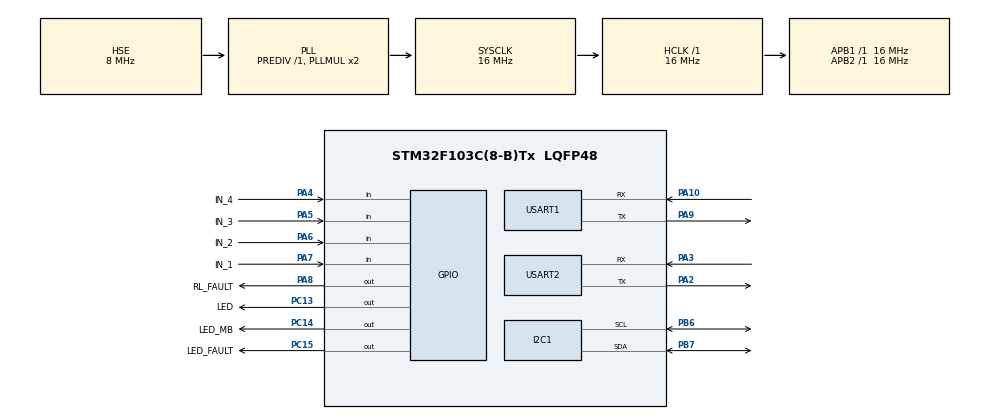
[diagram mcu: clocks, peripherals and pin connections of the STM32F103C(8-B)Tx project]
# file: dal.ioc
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FREERTOS.Tasks01=defaultTask,24,128,StartDefaultTask,Default,NULL,Dynamic,NULL,NULL;modbusTask,24,128,StartModbusTask,Default,NULL,Dynamic,NULL,NULL;sensorTask,24,128,StartSensorTask,Default,NULL,Dynamic,NULL,NULL;nfcTask,24,128,StartNfcTask,Default,NULL,Dynamic,NULL,NULL
FREERTOS.configTOTAL_HEAP_SIZE=10240
Mcu.Family=STM32F1
Mcu.Name=STM32F103C(8-B)Tx
Mcu.Package=LQFP48
NVIC.PriorityGroup=NVIC_PRIORITYGROUP_4
NVIC.USART1_IRQn=true\:5\:0\:false\:false\:true\:true\:true\:true\:true
NVIC.USART2_IRQn=true\:5\:0\:false\:false\:true\:true\:true\:true\:true
PA10.Mode=Asynchronous
PA10.Signal=USART1_RX
PA13.Mode=Serial_Wire
PA13.Signal=SYS_JTMS-SWDIO
PA14.Mode=Serial_Wire
PA14.Signal=SYS_JTCK-SWCLK
PA2.Mode=Asynchronous
PA2.Signal=USART2_TX
PA3.Mode=Asynchronous
PA3.Signal=USART2_RX
PA4.GPIO_Label=IN_4
PA4.GPIO_PuPd=GPIO_PULLDOWN
PA4.Signal=GPIO_Input
PA5.GPIO_Label=IN_3
PA5.GPIO_PuPd=GPIO_PULLDOWN
PA5.Signal=GPIO_Input
PA6.GPIO_Label=IN_2
PA6.GPIO_PuPd=GPIO_PULLDOWN
PA6.Signal=GPIO_Input
PA7.GPIO_Label=IN_1
PA7.GPIO_PuPd=GPIO_PULLDOWN
PA7.Signal=GPIO_Input
PA8.GPIO_Label=RL_FAULT
PA8.Signal=GPIO_Output
PA9.Mode=Asynchronous
PA9.Signal=USART1_TX
PB6.Mode=I2C
PB6.Signal=I2C1_SCL
PB7.Mode=I2C
PB7.Signal=I2C1_SDA
PC13-TAMPER-RTC.GPIO_Label=LED
PC13-TAMPER-RTC.GPIO_PuPd=GPIO_NOPULL
PC13-TAMPER-RTC.Signal=GPIO_Output
PC14-OSC32_IN.GPIO_Label=LED_MB
PC14-OSC32_IN.Signal=GPIO_Output
PC15-OSC32_OUT.GPIO_Label=LED_FAULT
PC15-OSC32_OUT.Signal=GPIO_Output
PD0-OSC_IN.Mode=HSE-External-Oscillator
PD0-OSC_IN.Signal=RCC_OSC_IN
PD1-OSC_OUT.Mode=HSE-External-Oscillator
PD1-OSC_OUT.Signal=RCC_OSC_OUT
ProjectManager.HeapSize=0x200
ProjectManager.StackSize=0x400
ProjectManager.TargetToolchain=STM32CubeIDE
RCC.AHBFreq_Value=16000000
RCC.APB1Freq_Value=16000000
RCC.APB1TimFreq_Value=16000000
RCC.APB2Freq_Value=16000000
RCC.APB2TimFreq_Value=16000000
RCC.HCLKFreq_Value=16000000
RCC.PLLSourceVirtual=RCC_PLLSOURCE_HSE
RCC.SYSCLKFreq_VALUE=16000000
RCC.SYSCLKSource=RCC_SYSCLKSOURCE_PLLCLK
RCC.USBFreq_Value=16000000
USART1.VirtualMode=VM_ASYNC
USART2.VirtualMode=VM_ASYNC
VP_FREERTOS_VS_CMSIS_V2.Mode=CMSIS_V2
VP_TIM2_VS_ClockSourceINT.Mode=Internal
board=custom

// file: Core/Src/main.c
/* USER CODE BEGIN Header */
/**
  ******************************************************************************
  * @file           : main.c
  * @brief          : Main program body
  ******************************************************************************
  * @attention
  *
  * Copyright (c) 2025 STMicroelectronics.
  * All rights reserved.
  *
  * This software is licensed under terms that can be found in the LICENSE file
  * in the root directory of this software component.
  * If no LICENSE file comes with this software, it is provided AS-IS.
  *
  ******************************************************************************
  */
/* USER CODE END Header */
#include "main.h"
#include "cmsis_os.h"

/* USER CODE BEGIN Includes */
#include <stdarg.h>
#include <string.h>
#include <math.h>
/* USER CODE END Includes */

I2C_HandleTypeDef hi2c1;

TIM_HandleTypeDef htim2;

UART_HandleTypeDef huart1;
UART_HandleTypeDef huart2;

/* Definitions for defaultTask */
osThreadId_t defaultTaskHandle;
const osThreadAttr_t defaultTask_attributes = {
  .name = "defaultTask",
  .stack_size = 128 * 4,
  .priority = (osPriority_t) osPriorityNormal,
};
/* Definitions for modbusTask */
osThreadId_t modbusTaskHandle;
const osThreadAttr_t modbusTask_attributes = {
  .name = "modbusTask",
  .stack_size = 128 * 4,
  .priority = (osPriority_t) osPriorityNormal,
};
/* Definitions for sensorTask */
//osThreadId_t sensorTaskHandle;
//const osThreadAttr_t sensorTask_attributes = {
//  .name = "sensorTask",
//  .stack_size = 128 * 4,
//  .priority = (osPriority_t) osPriorityNormal,
//};
/* Definitions for nfcTask */
osThreadId_t nfcTaskHandle;
const osThreadAttr_t nfcTask_attributes = {
  .name = "nfcTask",
  .stack_size = 128 * 4,
  .priority = (osPriority_t) osPriorityNormal,
};
/* Definitions for dockTask */
osThreadId_t dockTaskHandle;
const osThreadAttr_t dockTask_attributes = {
  .name = "dockTask",
  .stack_size = 128 * 4,
  .priority = (osPriority_t) osPriorityNormal,
};
/* USER CODE BEGIN PV */
// Module handles
PN532_Config pn532_config;
//BNO055_Handle_t hbno055;
Modbus_Handle_t hmodbus;

// Data buffers
//uint16_t sensor_data[32];

// NFC/RFID data
uint8_t nfc_card_uid[7];
uint8_t nfc_card_uid_length = 0;
uint8_t nfc_card_type = 0;
bool nfc_card_present = false;
uint32_t nfc_last_card_uid = 0; // For detecting card changes

//docking station status
uint8_t _g_dock_status = 0;

// Status variables
volatile uint8_t system_status = 0;
volatile uint8_t system_error = 0;
bool sensors_initialized = false;

// IMU velocity and heading data
//float current_velocity = 0.0f;  // m/s
//float current_heading = 0.0f;   // degrees

// Debug buffer
char debug_buffer[128];

// IMU fail counter for error handling
//uint32_t imu_fail_counter = 0;

//BNO055_Vector_t *_g_lin_accel;
//BNO055_Vector_t *_g_gyro_data;
// RTOS synchronization objects
osMutexId_t dataMutexHandle;
const osMutexAttr_t dataMutex_attributes = {
  .name = "dataMutex"
};

osSemaphoreId_t sensorReadySemHandle;
const osSemaphoreAttr_t sensorReadySem_attributes = {
  .name = "sensorReadySem"
};

osEventFlagsId_t systemEventsHandle;
const osEventFlagsAttr_t systemEvents_attributes = {
  .name = "systemEvents"
};

// Event flags
#define EVENT_SENSOR_DATA_READY    (1UL << 0)
#define EVENT_NFC_DATA_READY       (1UL << 1)
#define EVENT_SYSTEM_ERROR         (1UL << 3)
/* USER CODE END PV */

void SystemClock_Config(void);
static void MX_GPIO_Init(void);
static void MX_I2C1_Init(void);
static void MX_USART1_UART_Init(void);
static void MX_USART2_UART_Init(void);
static void MX_TIM2_Init(void);
void StartDefaultTask(void *argument);
void StartModbusTask(void *argument);
//void StartSensorTask(void *argument);
void StartNfcTask(void *argument);
void StartDockTask(void *argument);

/* USER CODE BEGIN PFP */
void SystemInit_Modules(void);
void DebugPrint(const char* format, ...);
void I2C_Scanner(void);
void DebugDumpHex(const char* label, uint8_t* data, uint8_t len);
void Modbus_OnRegisterRead(uint16_t addr, uint16_t *value);
void Modbus_OnRegisterWrite(uint16_t addr, uint16_t value);
/* USER CODE END PFP */

int main(void)
{

  /* MCU Configuration--------------------------------------------------------*/

  /* Reset of all peripherals, Initializes the Flash interface and the Systick. */
  HAL_Init();

  /* Configure the system clock */
  SystemClock_Config();

  /* Initialize all configured peripherals */
  MX_GPIO_Init();
  MX_I2C1_Init();
  MX_USART1_UART_Init();
  MX_USART2_UART_Init();
  MX_TIM2_Init();
  /* USER CODE BEGIN 2 */

  // Initialize modules
  HAL_Delay(1000);
  SystemInit_Modules();

  // Initialize Modbus RTU Slave với TIM2 cho frame timeout
  if (Modbus_Init(&hmodbus, &huart2, &htim2, MODBUS_SLAVE_DEFAULT_ADDRESS) == HAL_OK) {
    DebugPrint("Modbus RTU initialized on UART2 with TIM2\r\n");
    DebugPrint("  Slave Address: %d\r\n", MODBUS_SLAVE_DEFAULT_ADDRESS);
    DebugPrint("  Baudrate: 115200\r\n");
    DebugPrint("  Frame timeout: 5ms (T3.5)\r\n");

    // Register callbacks
    Modbus_RegisterReadCallback(&hmodbus, Modbus_OnRegisterRead);
    Modbus_RegisterWriteCallback(&hmodbus, Modbus_OnRegisterWrite);

    // Initialize system registers with default values
    Modbus_WriteRegister(&hmodbus, REG_DEVICE_ID, MODBUS_SLAVE_DEFAULT_ADDRESS);
    Modbus_WriteRegister(&hmodbus, REG_MODULE_TYPE, 0x0004);
    Modbus_WriteRegister(&hmodbus, REG_FIRMWARE_VERSION, 0x0101);
    Modbus_WriteRegister(&hmodbus, REG_HARDWARE_VERSION, 0x0101);
    Modbus_WriteRegister(&hmodbus, REG_CONFIG_BAUDRATE, 5); // 115200
    Modbus_WriteRegister(&hmodbus, REG_CONFIG_PARITY, 0);   // None
    Modbus_WriteRegister(&hmodbus, REG_CONFIG_STOP_BITS, 1); // 1 stop bit
  } else {
    DebugPrint("Modbus initialization failed!\r\n");
  }
  /* USER CODE END 2 */

  /* Init scheduler */
  osKernelInitialize();

  /* USER CODE BEGIN RTOS_MUTEX */
  /* Create the mutex(es) */
  dataMutexHandle = osMutexNew(&dataMutex_attributes);
  /* USER CODE END RTOS_MUTEX */

  /* USER CODE BEGIN RTOS_SEMAPHORES */
  /* Create the semaphore(s) */
  sensorReadySemHandle = osSemaphoreNew(1, 0, &sensorReadySem_attributes);
  /* USER CODE END RTOS_SEMAPHORES */

  /* Create the thread(s) */
  /* creation of defaultTask */
  defaultTaskHandle = osThreadNew(StartDefaultTask, NULL, &defaultTask_attributes);

  /* creation of modbusTask */
  modbusTaskHandle = osThreadNew(StartModbusTask, NULL, &modbusTask_attributes);

  /* creation of sensorTask */
//  sensorTaskHandle = osThreadNew(StartSensorTask, NULL, &sensorTask_attributes);

  /* creation of nfcTask */
  nfcTaskHandle = osThreadNew(StartNfcTask, NULL, &nfcTask_attributes);

  /* creation of dockTask */
  dockTaskHandle = osThreadNew(StartDockTask, NULL, &dockTask_attributes);

  /* USER CODE BEGIN RTOS_EVENTS */
  /* Create the event flags */
  systemEventsHandle = osEventFlagsNew(&systemEvents_attributes);
  /* USER CODE END RTOS_EVENTS */

  /* Start scheduler */
  osKernelStart();

  /* We should never get here as control is now taken by the scheduler */

  /* Infinite loop */
  while (1)
  {

    /* USER CODE BEGIN 3 */
    // This code should not be reached when using RTOS
    // All functionality is now handled by RTOS tasks
  }
  /* USER CODE END 3 */
}

void SystemClock_Config(void)
{
  RCC_OscInitTypeDef RCC_OscInitStruct = {0};
  RCC_ClkInitTypeDef RCC_ClkInitStruct = {0};

  /** Initializes the RCC Oscillators according to the specified parameters
  * in the RCC_OscInitTypeDef structure.
  */
  RCC_OscInitStruct.OscillatorType = RCC_OSCILLATORTYPE_HSE;
  RCC_OscInitStruct.HSEState = RCC_HSE_ON;
  RCC_OscInitStruct.HSEPredivValue = RCC_HSE_PREDIV_DIV1;
  RCC_OscInitStruct.HSIState = RCC_HSI_ON;
  RCC_OscInitStruct.PLL.PLLState = RCC_PLL_ON;
  RCC_OscInitStruct.PLL.PLLSource = RCC_PLLSOURCE_HSE;
  RCC_OscInitStruct.PLL.PLLMUL = RCC_PLL_MUL2;
  if (HAL_RCC_OscConfig(&RCC_OscInitStruct) != HAL_OK)
  {
    Error_Handler();
  }

  /** Initializes the CPU, AHB and APB buses clocks
  */
  RCC_ClkInitStruct.ClockType = RCC_CLOCKTYPE_HCLK|RCC_CLOCKTYPE_SYSCLK
                              |RCC_CLOCKTYPE_PCLK1|RCC_CLOCKTYPE_PCLK2;
  RCC_ClkInitStruct.SYSCLKSource = RCC_SYSCLKSOURCE_PLLCLK;
  RCC_ClkInitStruct.AHBCLKDivider = RCC_SYSCLK_DIV1;
  RCC_ClkInitStruct.APB1CLKDivider = RCC_HCLK_DIV1;
  RCC_ClkInitStruct.APB2CLKDivider = RCC_HCLK_DIV1;

  if (HAL_RCC_ClockConfig(&RCC_ClkInitStruct, FLASH_LATENCY_0) != HAL_OK)
  {
    Error_Handler();
  }
}

static void MX_I2C1_Init(void)
{

  hi2c1.Instance = I2C1;
  hi2c1.Init.ClockSpeed = 100000;
  hi2c1.Init.DutyCycle = I2C_DUTYCYCLE_2;
  hi2c1.Init.OwnAddress1 = 0;
  hi2c1.Init.AddressingMode = I2C_ADDRESSINGMODE_7BIT;
  hi2c1.Init.DualAddressMode = I2C_DUALADDRESS_DISABLE;
  hi2c1.Init.OwnAddress2 = 0;
  hi2c1.Init.GeneralCallMode = I2C_GENERALCALL_DISABLE;
  hi2c1.Init.NoStretchMode = I2C_NOSTRETCH_DISABLE;
  if (HAL_I2C_Init(&hi2c1) != HAL_OK)
  {
    Error_Handler();
  }

}

static void MX_TIM2_Init(void)
{

  TIM_ClockConfigTypeDef sClockSourceConfig = {0};
  TIM_MasterConfigTypeDef sMasterConfig = {0};

  htim2.Instance = TIM2;
  htim2.Init.Prescaler = 0;
  htim2.Init.CounterMode = TIM_COUNTERMODE_UP;
  htim2.Init.Period = 65535;
  htim2.Init.ClockDivision = TIM_CLOCKDIVISION_DIV1;
  htim2.Init.AutoReloadPreload = TIM_AUTORELOAD_PRELOAD_DISABLE;
  if (HAL_TIM_Base_Init(&htim2) != HAL_OK)
  {
    Error_Handler();
  }
  sClockSourceConfig.ClockSource = TIM_CLOCKSOURCE_INTERNAL;
  if (HAL_TIM_ConfigClockSource(&htim2, &sClockSourceConfig) != HAL_OK)
  {
    Error_Handler();
  }
  sMasterConfig.MasterOutputTrigger = TIM_TRGO_RESET;
  sMasterConfig.MasterSlaveMode = TIM_MASTERSLAVEMODE_DISABLE;
  if (HAL_TIMEx_MasterConfigSynchronization(&htim2, &sMasterConfig) != HAL_OK)
  {
    Error_Handler();
  }

}

static void MX_USART1_UART_Init(void)
{

  huart1.Instance = USART1;
  huart1.Init.BaudRate = 115200;
  huart1.Init.WordLength = UART_WORDLENGTH_8B;
  huart1.Init.StopBits = UART_STOPBITS_1;
  huart1.Init.Parity = UART_PARITY_NONE;
  huart1.Init.Mode = UART_MODE_TX_RX;
  huart1.Init.HwFlowCtl = UART_HWCONTROL_NONE;
  huart1.Init.OverSampling = UART_OVERSAMPLING_16;
  if (HAL_UART_Init(&huart1) != HAL_OK)
  {
    Error_Handler();
  }

}

static void MX_USART2_UART_Init(void)
{

  huart2.Instance = USART2;
  huart2.Init.BaudRate = 115200;
  huart2.Init.WordLength = UART_WORDLENGTH_8B;
  huart2.Init.StopBits = UART_STOPBITS_1;
  huart2.Init.Parity = UART_PARITY_NONE;
  huart2.Init.Mode = UART_MODE_TX_RX;
  huart2.Init.HwFlowCtl = UART_HWCONTROL_NONE;
  huart2.Init.OverSampling = UART_OVERSAMPLING_16;
  if (HAL_UART_Init(&huart2) != HAL_OK)
  {
    Error_Handler();
  }

}

static void MX_GPIO_Init(void)
{
  GPIO_InitTypeDef GPIO_InitStruct = {0};

  /* GPIO Ports Clock Enable */
  __HAL_RCC_GPIOC_CLK_ENABLE();
  __HAL_RCC_GPIOD_CLK_ENABLE();
  __HAL_RCC_GPIOA_CLK_ENABLE();
  __HAL_RCC_GPIOB_CLK_ENABLE();

  /*Configure GPIO pin Output Level */
  HAL_GPIO_WritePin(GPIOC, LED_Pin|LED_MB_Pin|LED_FAULT_Pin, GPIO_PIN_RESET);

  /*Configure GPIO pin Output Level */
  HAL_GPIO_WritePin(RL_FAULT_GPIO_Port, RL_FAULT_Pin, GPIO_PIN_RESET);

  /*Configure GPIO pins : LED_Pin LED_MB_Pin LED_FAULT_Pin */
  GPIO_InitStruct.Pin = LED_Pin|LED_MB_Pin|LED_FAULT_Pin;
  GPIO_InitStruct.Mode = GPIO_MODE_OUTPUT_PP;
  GPIO_InitStruct.Pull = GPIO_NOPULL;
  GPIO_InitStruct.Speed = GPIO_SPEED_FREQ_LOW;
  HAL_GPIO_Init(GPIOC, &GPIO_InitStruct);

  /*Configure GPIO pins : IN_4_Pin IN_3_Pin IN_2_Pin IN_1_Pin */
  GPIO_InitStruct.Pin = IN_4_Pin|IN_3_Pin|IN_2_Pin|IN_1_Pin;
  GPIO_InitStruct.Mode = GPIO_MODE_INPUT;
  GPIO_InitStruct.Pull = GPIO_PULLDOWN;
  HAL_GPIO_Init(GPIOA, &GPIO_InitStruct);

  /*Configure GPIO pin : RL_FAULT_Pin */
  GPIO_InitStruct.Pin = RL_FAULT_Pin;
  GPIO_InitStruct.Mode = GPIO_MODE_OUTPUT_PP;
  GPIO_InitStruct.Pull = GPIO_NOPULL;
  GPIO_InitStruct.Speed = GPIO_SPEED_FREQ_LOW;
  HAL_GPIO_Init(RL_FAULT_GPIO_Port, &GPIO_InitStruct);

}

/* USER CODE BEGIN 4 */

/**
 * @brief Initialize all modules
 */
void SystemInit_Modules(void)
{
    // Clear status and errors at start
    system_status = 0x00;
    system_error = 0x00;

    // Scan I2C bus for devices
    // I2C_Scanner();

//    // Initialize BNO055 IMU with retry mechanism
//    DebugPrint("Initializing BNO055...\r\n");
//
//    BNO055_Status_t bno_status = BNO055_STATUS_ERROR;
//    for (int retry = 0; retry < 3 && bno_status != BNO055_STATUS_OK; retry++) {
//        if (retry > 0) {
//            DebugPrint("BNO055 retry attempt %d/3\r\n", retry + 1);
//            HAL_Delay(500); // Longer delay for retry
//        } else {
//            HAL_Delay(100); // Initial startup delay
//        }
//
//        bno_status = BNO055_Init(&hbno055, &hi2c1);
//    }
//
//    if (bno_status == BNO055_STATUS_OK) {
//        DebugPrint("BNO055 initialized successfully\r\n");
//
//        // Check BNO055 operational status
//        uint8_t imu_status, imu_err;
//        if (BNO055_ReadSystemStatus(&hbno055, &imu_status, &imu_err) == BNO055_STATUS_OK) {
//            DebugPrint("  IMU Status: 0x%02X, IMU Error: 0x%02X\r\n", imu_status, imu_err);
//        }
//
//        // Check operation mode
//        DebugPrint("  Operation Mode: 0x%02X\r\n", hbno055.operation_mode);
//
//        system_status |= 0x01; // IMU OK
//    } else {
//        uint8_t error_code = BNO055_GetErrorCode(&hbno055);
//        DebugPrint("BNO055 initialization failed after 3 attempts with error: 0x%02X\r\n", error_code);
//        if (error_code == 0xFF) {
//            DebugPrint("  -> Communication failed - check I2C connections\r\n");
//        } else if (error_code == 0x00) {
//            DebugPrint("  -> Chip ID is 0x00 - sensor may be in reset or wrong address\r\n");
//        } else {
//            DebugPrint("  -> Wrong chip ID: 0x%02X (expected 0x%02X)\r\n", error_code, BNO055_ID);
//        }
//        system_error |= 0x01; // IMU Error
//        HAL_GPIO_WritePin(LED_FAULT_GPIO_Port, LED_FAULT_Pin, GPIO_PIN_SET);
//    }

    // Initialize PN532 NFC/RFID with retry mechanism
    // DebugPrint("Initializing PN532...\r\n");

    // Configure PN532
    pn532_config.hi2c = &hi2c1;
    pn532_config.i2c_addr = PN532_I2C_ADDRESS << 1; // HAL expects 8-bit address
    pn532_config.reset_port = NULL; // No reset pin configured
    pn532_config.reset_pin = 0;
    pn532_config.log = DebugPrint; // Use our debug print function

    PN532_Status_t pn532_status = PN532_STATUS_ERROR;
    for (int retry = 0; retry < 3 && pn532_status != PN532_STATUS_OK; retry++) {
        if (retry > 0) {
            // DebugPrint("PN532 retry attempt %d/3\r\n", retry + 1);
            HAL_Delay(500); // Longer delay for retry
        } else {
            HAL_Delay(100); // Delay between sensor initializations
        }

        pn532_status = PN532_Init(&pn532_config);
    }

    if (pn532_status == PN532_STATUS_OK) {
        // DebugPrint("PN532 initialized successfully\r\n");
        system_status |= 0x02; // NFC OK
    } else {
        // DebugPrint("PN532 initialization failed\n");
        system_error |= 0x02; // NFC Error
        HAL_GPIO_WritePin(LED_FAULT_GPIO_Port, LED_FAULT_Pin, GPIO_PIN_SET);
        HAL_GPIO_WritePin(RL_FAULT_GPIO_Port, RL_FAULT_Pin, GPIO_PIN_SET);
    }

    sensors_initialized = true;
    // DebugPrint("Module initialization completed\r\n");
    DebugPrint("System Status: 0x%02X, System Error: 0x%02X\r\n", system_status, system_error);
}

/**
 * @brief Debug print function
 */
void DebugPrint(const char* format, ...)
{
    va_list args;
    va_start(args, format);
    vsnprintf(debug_buffer, sizeof(debug_buffer), format, args);
    va_end(args);

    HAL_UART_Transmit(&huart1, (uint8_t*)debug_buffer, strlen(debug_buffer), 100);
}

/**
 * @brief I2C Scanner to detect devices on the bus
 */
void I2C_Scanner(void)
{
    uint8_t devices_found = 0;
    DebugPrint("I2C Scanner starting...\r\n");
    DebugPrint("Expected devices: BNO055 (0x%02X), PN532 (0x%02X)\r\n", BNO055_I2C_ADDR, PN532_I2C_ADDRESS);
    DebugPrint("I2C Clock Speed: %lu Hz\r\n", hi2c1.Init.ClockSpeed);

    // Check I2C peripheral state
    DebugPrint("I2C1 State: %d ", hi2c1.State);
    switch(hi2c1.State) {
        case HAL_I2C_STATE_RESET:   DebugPrint("(RESET)\r\n"); break;
        case HAL_I2C_STATE_READY:   DebugPrint("(READY)\r\n"); break;
        case HAL_I2C_STATE_BUSY:    DebugPrint("(BUSY)\r\n"); break;
        case HAL_I2C_STATE_BUSY_TX: DebugPrint("(BUSY_TX)\r\n"); break;
        case HAL_I2C_STATE_BUSY_RX: DebugPrint("(BUSY_RX)\r\n"); break;
        case HAL_I2C_STATE_LISTEN:  DebugPrint("(LISTEN)\r\n"); break;
        case HAL_I2C_STATE_BUSY_TX_LISTEN: DebugPrint("(BUSY_TX_LISTEN)\r\n"); break;
        case HAL_I2C_STATE_BUSY_RX_LISTEN: DebugPrint("(BUSY_RX_LISTEN)\r\n"); break;
        case HAL_I2C_STATE_ABORT:   DebugPrint("(ABORT)\r\n"); break;
        case HAL_I2C_STATE_TIMEOUT: DebugPrint("(TIMEOUT)\r\n"); break;
        case HAL_I2C_STATE_ERROR:   DebugPrint("(ERROR)\r\n"); break;
        default: DebugPrint("(UNKNOWN)\r\n"); break;
    }

    // Try to reset I2C if it's not in ready state
    if (hi2c1.State != HAL_I2C_STATE_READY) {
        DebugPrint("I2C1 not ready, attempting reset...\r\n");
        HAL_I2C_DeInit(&hi2c1);
        HAL_Delay(10);
        MX_I2C1_Init();
        HAL_Delay(50);
        DebugPrint("I2C1 reset completed, new state: %d\r\n", hi2c1.State);
    }

    for (uint8_t address = 1; address < 128; address++) {
        // Try to communicate with device at this address
        HAL_StatusTypeDef result = HAL_I2C_IsDeviceReady(&hi2c1, address << 1, 1, 100);
        if (result == HAL_OK) {
            DebugPrint("I2C device found at address 0x%02X\r\n", address);
            devices_found++;

            // Check if it's our known devices
            if (address == BNO055_I2C_ADDR) {
                DebugPrint("  -> BNO055 IMU detected\r\n");
            } else if (address == PN532_I2C_ADDRESS) {
                DebugPrint("  -> PN532 NFC/RFID detected\r\n");
            } else {
                DebugPrint("  -> Unknown device\r\n");
            }
        } else if (result != HAL_TIMEOUT) {
            // Log other errors (not timeout which is expected for empty addresses)
            if (address == BNO055_I2C_ADDR || address == PN532_I2C_ADDRESS) {
                DebugPrint("I2C error at expected address 0x%02X: %d\r\n", address, result);
            }
        }
    }
}

void Modbus_OnRegisterRead(uint16_t addr, uint16_t *value)
{
    // Cập nhật các thanh ghi từ dữ liệu thực tế
    switch (addr) {
//        case REG_ACCEL_X:
//            *value = (uint16_t)_g_lin_accel->x;
//            break;
//        case REG_ACCEL_Y:
//            *value = (uint16_t)_g_lin_accel->y;
//            break;
//        case REG_ACCEL_Z:
//            *value = (uint16_t)_g_lin_accel->z;
//            break;
//        case REG_GYRO_X:
//            *value = (uint16_t)_g_gyro_data->x;
//            break;
//        case REG_GYRO_Y:
//            *value = (uint16_t)_g_gyro_data->y;
//            break;
//        case REG_GYRO_Z:
//            *value = (uint16_t)_g_gyro_data->z;
//            break;
//
//        case REG_VELOCITY:
//            int16_t velocity_scaled = (int16_t)(current_velocity * 100.0f);
//            *value = (uint16_t)velocity_scaled;
//            break;
//
//        case REG_HEADING:
//            int16_t heading_scaled = (int16_t)(current_heading * 10.0f);
//            *value = (uint16_t)heading_scaled;
//            break;
//
//        case REG_IMU_STATUS:
//            *value = (system_status & 0x01) ? 1 : 0;
//            break;
//
//        case REG_IMU_ERROR:
//            *value = (system_error & 0x01) ? 1 : 0;
//            break;

        // Digital Input Registers
        case REG_DI_1:
            *value = HAL_GPIO_ReadPin(IN_1_GPIO_Port, IN_1_Pin);
            break;
        case REG_DI_2:
            *value = HAL_GPIO_ReadPin(IN_2_GPIO_Port, IN_2_Pin);
            break;
        case REG_DI_3:
            *value = HAL_GPIO_ReadPin(IN_3_GPIO_Port, IN_3_Pin);
            break;
        case REG_DI_4:
            *value = HAL_GPIO_ReadPin(IN_4_GPIO_Port, IN_4_Pin);
            break;

        case REG_DOCK_STATUS:
            *value = _g_dock_status;
            break;

        // PN532 NFC Registers
        case REG_PN532_DATA_LOW:
        case REG_PN532_DATA_HIGH:
            // Không sử dụng - để trống
            *value = 0;
            break;

        case REG_PN532_STATUS:
            *value = (system_status & 0x02) ? 1 : 0;
            break;

        case REG_PN532_ERROR:
            *value = (system_error & 0x02) ? 1 : 0;
            break;

        case REG_PN532_CARD_TYPE:
            *value = nfc_card_present ? nfc_card_type : 0;
            break;

        case REG_PN532_CARD_UID_HIGH:
            // 2 byte cao của UID (Big-Endian)
            // Byte 0 (MSB) | Byte 1
            if (nfc_card_present && nfc_card_uid_length >= 2) {
                *value = (nfc_card_uid[0] << 8) | nfc_card_uid[1];
            } else {
                *value = 0;
            }
            break;

        case REG_PN532_CARD_UID_LOW:
            // 2 byte thấp của UID (Big-Endian)
            // Byte 2 | Byte 3 (LSB)
            if (nfc_card_present && nfc_card_uid_length >= 4) {
                *value = (nfc_card_uid[2] << 8) | nfc_card_uid[3];
            } else {
                *value = 0;
            }
            break;

        // System Registers
        case REG_DEVICE_ID:
            *value = hmodbus.slave_address;
            break;
        case REG_CONFIG_BAUDRATE:
            switch (hmodbus.baudrate) {
                case MODBUS_BAUD_9600:   *value = 1; break;
                case MODBUS_BAUD_19200:  *value = 2; break;
                case MODBUS_BAUD_38400:  *value = 3; break;
                case MODBUS_BAUD_57600:  *value = 4; break;
                case MODBUS_BAUD_115200: *value = 5; break;
                default:                 *value = 5; break;
            }
            break;
        case REG_CONFIG_PARITY:
            *value = (uint16_t)hmodbus.parity;
            break;
        case REG_CONFIG_STOP_BITS:
            *value = (uint16_t)hmodbus.stopbits;
            break;
        case REG_MODULE_TYPE:
            *value = 0x0004; // DAL Module
            break;
        case REG_FIRMWARE_VERSION:
            *value = 0x0101; // v1.01
            break;
        case REG_HARDWARE_VERSION:
            *value = 0x0101; // v1.01
            break;
        case REG_SYSTEM_STATUS:
            *value = system_status;
            break;
        case REG_SYSTEM_ERROR:
            *value = system_error;
            break;

        default:
            // Giữ nguyên giá trị đã lưu trong thanh ghi
            break;
    }
}

/**
 * @brief Callback được gọi khi Master ghi thanh ghi
 */
void Modbus_OnRegisterWrite(uint16_t addr, uint16_t value)
{
    switch (addr) {
        case REG_DEVICE_ID:
            if (value > 0 && value <= 247) {
                hmodbus.slave_address = (uint8_t)value;
                DebugPrint("Modbus slave address changed to: %d\r\n", value);
            }
            break;

        case REG_CONFIG_BAUDRATE:
            {
                uint32_t new_baudrate;
                switch (value) {
                    case 1: new_baudrate = MODBUS_BAUD_9600; break;
                    case 2: new_baudrate = MODBUS_BAUD_19200; break;
                    case 3: new_baudrate = MODBUS_BAUD_38400; break;
                    case 4: new_baudrate = MODBUS_BAUD_57600; break;
                    case 5: new_baudrate = MODBUS_BAUD_115200; break;
                    default: new_baudrate = MODBUS_BAUD_115200; break;
                }
                if (Modbus_SetConfig(&hmodbus, new_baudrate, hmodbus.parity, hmodbus.stopbits) == HAL_OK) {
                    DebugPrint("Modbus baudrate changed to: %lu\r\n", new_baudrate);
                }
            }
            break;

        case REG_CONFIG_PARITY:
            if (value <= 2) {
                if (Modbus_SetConfig(&hmodbus, hmodbus.baudrate, (Modbus_Parity_t)value, hmodbus.stopbits) == HAL_OK) {
                    DebugPrint("Modbus parity changed to: %d\r\n", value);
                }
            }
            break;

        case REG_CONFIG_STOP_BITS:
            // Thay đổi stop bits
            if (value == 1 || value == 2) {
                if (Modbus_SetConfig(&hmodbus, hmodbus.baudrate, hmodbus.parity, (Modbus_StopBits_t)value) == HAL_OK) {
                    DebugPrint("Modbus stop bits changed to: %d\r\n", value);
                }
            }
            break;

        case REG_RESET_ERROR_CMD:
            // Reset error flags
            if (value == 1) {
                system_error = 0;
                DebugPrint("System errors reset\r\n");
                // Tắt LED_FAULT khi reset error
                HAL_GPIO_WritePin(LED_FAULT_GPIO_Port, LED_FAULT_Pin, GPIO_PIN_RESET);
            }
            break;

        default:
            // Lưu giá trị vào thanh ghi mặc định
            break;
    }
}

/* USER CODE END 4 */

void StartDefaultTask(void *argument)
{
  /* USER CODE BEGIN 5 */
  DebugPrint("------Default Task Started------\r\n");

  // Signal that initialization is complete
  osEventFlagsSet(systemEventsHandle, EVENT_SENSOR_DATA_READY);

  uint32_t recovery_cooldown = 0;

  /* Infinite loop */
  for(;;)
  {
    uint32_t events = osEventFlagsWait(systemEventsHandle,
                                      EVENT_SYSTEM_ERROR,
                                      osFlagsWaitAny,
                                      1000);

    // Kiểm tra nếu có lỗi thực sự (không phải timeout)
    if ((events != osFlagsErrorTimeout) && (events & EVENT_SYSTEM_ERROR)) {
        // Check cooldown
        if (HAL_GetTick() - recovery_cooldown < 10000) { // 10 second cooldown
            osEventFlagsClear(systemEventsHandle, EVENT_SYSTEM_ERROR);
            osDelay(1000);
            continue;
        }

        DebugPrint("System error detected, attempting recovery...\r\n");
        recovery_cooldown = HAL_GetTick();

        // Clear error flag
        osEventFlagsClear(systemEventsHandle, EVENT_SYSTEM_ERROR);

        // Try to reinitialize modules
        if (system_error & 0x01) {
            DebugPrint("Resetting IMU error flag\r\n");
            system_error &= ~0x01;
        }

        if (system_error & 0x02) {
            DebugPrint("Resetting NFC error flag\r\n");
            system_error &= ~0x02;
        }
    }

    if (system_error != 0) {
        HAL_GPIO_WritePin(LED_FAULT_GPIO_Port, LED_FAULT_Pin, GPIO_PIN_SET);
        HAL_GPIO_WritePin(RL_FAULT_GPIO_Port, RL_FAULT_Pin, GPIO_PIN_SET);
    } else {
        HAL_GPIO_WritePin(LED_FAULT_GPIO_Port, LED_FAULT_Pin, GPIO_PIN_RESET);
        HAL_GPIO_WritePin(RL_FAULT_GPIO_Port, RL_FAULT_Pin, GPIO_PIN_RESET);
    }

    HAL_GPIO_TogglePin(LED_GPIO_Port, LED_Pin);
    osDelay(500); // Slower blink
  }
  /* USER CODE END 5 */
}

void StartModbusTask(void *argument)
{
  /* USER CODE BEGIN StartModbusTask */
  DebugPrint("------Modbus Task Started------\r\n");

  /* Infinite loop */
  for(;;)
  {
    // Process Modbus communication
    Modbus_Process(&hmodbus);
    osDelay(1); // 1ms polling rate
  }
  /* USER CODE END StartModbusTask */
}

void StartSensorTask(void *argument)
{
  /* USER CODE BEGIN StartSensorTask */
//  // Wait for system initialization
//  osEventFlagsWait(systemEventsHandle, EVENT_SENSOR_DATA_READY, osFlagsWaitAny, osWaitForever);
//
//  DebugPrint("------Sensor Task Started------\n");
//
//  uint32_t consecutive_failures = 0;
//  const uint32_t MAX_CONSECUTIVE_FAILURES = 5;
//
//  /* Infinite loop */
//  for(;;)
//  {
//    if (sensors_initialized && (system_status & 0x01)) {
//      // BNO055 is available, read real data
//      if (osMutexAcquire(dataMutexHandle, 100) == osOK) {
//        BNO055_Status_t read_status = BNO055_ReadAllSensors(&hbno055);
//
//        if (read_status == BNO055_STATUS_OK) {
//            // static states
//            static float v = 0.0f;                 // vận tốc (m/s)
//            static float last_a_forward = 0.0f;    // a_{k-1}
//            static float a_forward_lp = 0.0f;      // low-pass state (EMA)
//            static uint32_t last_tick = 0;
//            static MAFilter_t accFilter;
//            static uint8_t zh_counter = 0;
//
//            MAFilter_Init(&accFilter);
//
////          BNO055_Vector_t *accel = BNO055_GetAccel(&hbno055);
//            _g_lin_accel = BNO055_GetLinearAccel(&hbno055);
//            BNO055_Quaternion_t *quat = BNO055_GetQuaternion(&hbno055);
//            BNO055_Euler_t *euler = BNO055_GetEuler(&hbno055);
//            _g_gyro_data = BNO055_GetGyro(&hbno055);
//
////          DebugPrint("========IMU Data========\r\n");
////          DebugPrint("Acceleration: %.2f, %.2f, %.2f\r\n", accel->x * 0.01f, accel->y * 0.01f, accel->z * 0.01f);
////          DebugPrint("Linear Acceleration: %.2f, %.2f, %.2f m/s*s\r\n", lin_accel->x * 0.01f, lin_accel->y * 0.01f, lin_accel->z * 0.01f);
////          DebugPrint("Quaternion: %.2f, %.2f, %.2f, %.2f\r\n", quat->w, quat->x, quat->y, quat->z);
////          DebugPrint("Euler: %.2f, %.2f, %.2f\r\n", euler->heading, euler->roll, euler->pitch);
////          DebugPrint("Gyro: %.2f, %.2f, %.2f\r\n", gyro->x * 0.01f, gyro->y * 0.01f, gyro->z * 0.01f);
//
//          if (!_g_lin_accel || !quat || !euler || !_g_gyro_data) return;
//
//          uint32_t now = HAL_GetTick();
//          float dt = (last_tick == 0) ? SAMPLE_DT_DEFAULT : (now - last_tick) / 1000.0f;
//          if (dt <= 0) dt = SAMPLE_DT_DEFAULT;
//          last_tick = now;
//
//          // quaternion -> rotation matrix
//          float w = quat->w, x = quat->x, y = quat->y, z = quat->z;
//          float norm = sqrtf(w*w + x*x + y*y + z*z);
//          if (norm < 1e-6f) return;
//          w/=norm; x/=norm; y/=norm; z/=norm;
//
//          float R00 = 1 - 2*y*y - 2*z*z;
//          float R01 = 2*x*y - 2*z*w;
//          float R10 = 2*x*y + 2*z*w;
//          float R11 = 1 - 2*x*x - 2*z*z;
//
//          // scale LSB -> m/s^2 (BNO in m/s2 mode => 1 LSB = 0.01 m/s^2)
//          float ax = _g_lin_accel->x * 0.01f;
//          float ay = _g_lin_accel->z * 0.01f;
//          // world frame (only x,y needed)
//          float ax_w = R00*ax + R01*ay;
//          float ay_w = R10*ax + R11*ay;
//
//          // heading in radians
//          float heading_rad = euler->heading * PI_F / 180.0f;
//
//          // projection onto forward axis (vehicle forward = heading)
//          float a_forward = ax_w * cosf(heading_rad) + ay_w * sinf(heading_rad);
//          float a_forward_filtered = MAFilter_Update(&accFilter, a_forward);
//
//
//          // ----- EMA low-pass for a_forward -----
//          // alpha = dt / (tau + dt), tau = 1/(2*pi*fc)
//          float tau = 1.0f / (2.0f * PI_F * FC_CUTOFF);
//          float alpha = dt / (tau + dt);
//          // initialize lp on first run
//          static bool lp_init = false;
//          if (!lp_init) {
//              a_forward_lp = a_forward_filtered;
//              lp_init = true;
//          } else {
//              a_forward_lp = alpha * a_forward_filtered + (1.0f - alpha) * a_forward_lp;
//          }
//
//          // ----- trapezoidal integration -----
//          float v_delta = 0.5f * (a_forward_lp + last_a_forward) * dt;
//          v += v_delta;
//          last_a_forward = a_forward_lp;
//
//          // ----- ZUPT: nếu gần như đứng yên (acceleration nhỏ và gyro nhỏ) -----
//          // thresholds có thể tinh chỉnh
//          const float ACC_THRESHOLD = 0.05f;   // m/s^2
//          const float GYRO_THRESHOLD = 2.0f;   // deg/s (raw unit from BNO maybe LSB -> cần tùy)
//          // Note: gyro in your code is raw LSB; you may convert to deg/s if needed.
//          if (fabsf(a_forward_lp) < ACC_THRESHOLD &&
//              fabsf(_g_gyro_data->x) < GYRO_THRESHOLD && fabsf(_g_gyro_data->y) < GYRO_THRESHOLD && fabsf(_g_gyro_data ->z) < GYRO_THRESHOLD) {
//              // optionally require this condition persist N cycles before zeroing to avoid flicker
//              zh_counter++;
//              if (zh_counter >= 3) { // 3 cycles stable -> zero velocity
//                  v = 0.0f;
//              }
//          } else {
//              zh_counter = 0;
//          }
//
//          // optional: limit v to reasonable bounds (e.g., -50..+50 m/s)
//          if (v > 50.0f) v = 50.0f;
//          if (v < -50.0f) v = -50.0f;
//
//          // Cập nhật velocity và heading vào biến global
//          current_velocity = v;
//          current_heading = euler->heading;
//
//          // Debug print
////          DebugPrint("a_fwd: %.3f (lp %.3f) dt: %.3f => v: %.3f m/s | heading: %.2f\r\n",
////                    a_forward, a_forward_lp, dt, v, euler->heading);
////          DebugPrint("v: %.3f m/s | heading: %.2f\r\n", v, euler->heading);
//
//          // Reset fail counter on success
//          extern uint32_t imu_fail_counter; // Declare extern
//          imu_fail_counter = 0;
//
//          system_error &= ~0x01; // Clear IMU error
//          consecutive_failures = 0;
//        } else {
//        	consecutive_failures++;
//        	DebugPrint("IMU read failed! Status: %d, Consecutive failures: %lu\r\n", read_status, consecutive_failures);
//
//        	// Chỉ báo lỗi hệ thống sau nhiều lần fail liên tiếp
//        	if (consecutive_failures >= MAX_CONSECUTIVE_FAILURES) {
//			system_error |= 0x01; // Set IMU error
//			HAL_GPIO_WritePin(LED_FAULT_GPIO_Port, LED_FAULT_Pin, GPIO_PIN_SET);
//			osEventFlagsSet(systemEventsHandle, EVENT_SYSTEM_ERROR);
//			consecutive_failures = 0; // Reset counter
//        	}
//        }
//        osMutexRelease(dataMutexHandle);
//      }
//    } else {
//    	osDelay(100);
//    }
//    // Read sensor data every 50ms
//    osDelay(50);
//  }
  /* USER CODE END StartSensorTask */
}

void StartNfcTask(void *argument)
{
  /* USER CODE BEGIN StartNfcTask */
	DebugPrint("------NFC Task Starting------\r\n");
  // Wait for system initialization with timeout
  osEventFlagsWait(systemEventsHandle, EVENT_SENSOR_DATA_READY, osFlagsWaitAny, 10000);

  uint32_t firmware_version = getFirmwareVersion();
  if (firmware_version) {
    DebugPrint("PN532 firmware version: %d\r\n", firmware_version);
  } else {
    DebugPrint("Failed to get firmware version\r\n");
  }

  if (setPassiveActivationRetries(0xFF)) {
    DebugPrint("PN532 passive retries configured\r\n");
  } else {
    DebugPrint("Failed to configure passive retries\r\n");
  }

  // SAMConfig
  if (!SAMConfig()) {
      DebugPrint("PN532 SAMConfig failed\r\n");
  } else {
      DebugPrint("PN532 SAMConfig successful\r\n");
  }
  /* Infinite loop */
  for(;;)
  {
    if (sensors_initialized && (system_status & 0x02)) {
      // PN532 is available, try to read RFID card
      if (osMutexAcquire(dataMutexHandle, 100) == osOK) {

        uint8_t uid[7];
        uint8_t uid_length = 0;

        bool card_detected = readPassiveTargetID(PN532_MIFARE_ISO14443A, uid, &uid_length, 2000);

        if (card_detected && uid_length > 0) {
          // Card detected successfully
          /*DebugPrint("========NFC Card Detected========\r\n");
          DebugPrint("UID: ");
          for (uint8_t i = 0; i < uid_length; i++) {
            DebugPrint("%02X ", uid[i]);
          }
          DebugPrint("\r\n");*/

          // Calculate 32-bit UID for comparison (use first 4 bytes)
          uint32_t current_uid = 0;
          for (uint8_t i = 0; i < uid_length && i < 4; i++) {
            current_uid |= ((uint32_t)uid[i]) << (i * 8);
          }

          // Check if this is a new card
          if (current_uid != nfc_last_card_uid || !nfc_card_present) {
            // DebugPrint("New card detected! UID: 0x%08lX\r\n", current_uid);

            // Update card information
            memcpy(nfc_card_uid, uid, uid_length);
            nfc_card_uid_length = uid_length;
            nfc_card_present = true;
            nfc_last_card_uid = current_uid;

            // Determine card type based on UID length and other characteristics
            if (uid_length == 4) {
              nfc_card_type = 1; // Mifare Classic 1K/4K or compatible
              // DebugPrint("Card Type: Mifare Classic (4-byte UID)\r\n");
            } else if (uid_length == 7) {
              nfc_card_type = 2; // Mifare Ultralight or 7-byte UID card
              // DebugPrint("Card Type: Mifare Ultralight (7-byte UID)\r\n");
            } else {
              nfc_card_type = 0; // Unknown
              // DebugPrint("Card Type: Unknown (%d-byte UID)\r\n", uid_length);
            }
            // Signal that new NFC data is available
            osEventFlagsSet(systemEventsHandle, EVENT_NFC_DATA_READY);
          }

          system_error &= ~0x02; // Clear NFC error

        } else {
          // No card detected or read error
          // if (nfc_card_present) {
          //   DebugPrint("Card removed\r\n");

          //   // Clear card information
          //   nfc_card_present = false;
          //   nfc_card_uid_length = 0;
          //   nfc_card_type = 0;
          //   nfc_last_card_uid = 0;
          //   memset(nfc_card_uid, 0, sizeof(nfc_card_uid));

          // }

          system_error &= ~0x02; // Clear NFC error (no card is not an error)
        }

        osMutexRelease(dataMutexHandle);
      }
    } else {
      // PN532 not available, provide default data
      static uint32_t pn532_debug_counter = 0;
      if (++pn532_debug_counter >= 50) { // Less frequent for this message
        DebugPrint("PN532 not available - sensors_initialized: %d, system_status: 0x%02X\r\n",
                   sensors_initialized, system_status);
        pn532_debug_counter = 0;
      }

      if (osMutexAcquire(dataMutexHandle, 10) == osOK) {
        // Clear card data when PN532 is not available
        nfc_card_present = false;
        nfc_card_uid_length = 0;
        nfc_card_type = 0;
        nfc_last_card_uid = 0;

        osMutexRelease(dataMutexHandle);
      }
    }
    // Read NFC data every 500ms (faster response for card detection)
    osDelay(500);
  }
  /* USER CODE END StartNfcTask */
}

/* USER CODE BEGIN Header_StartDockTask */
/* USER CODE END Header_StartNfcTask */
void StartDockTask(void *argument)
{
	  /* USER CODE BEGIN StartDockTask */
  DebugPrint("------Dock Task Started------\r\n");

  /* Infinite loop */
  for(;;)
  {
    // Read digital input values from GPIO
    uint16_t di_1_value = (HAL_GPIO_ReadPin(IN_1_GPIO_Port, IN_1_Pin) == GPIO_PIN_SET) ? 1 : 0;
    uint16_t di_2_value = (HAL_GPIO_ReadPin(IN_2_GPIO_Port, IN_2_Pin) == GPIO_PIN_SET) ? 1 : 0;
    // uint16_t di_3_value = HAL_GPIO_ReadPin(IN_3_GPIO_Port, IN_3_Pin);
    // uint16_t di_4_value = HAL_GPIO_ReadPin(IN_4_GPIO_Port, IN_4_Pin);

    // Update dock status based on digital input values
    if ((di_1_value == 1 && di_2_value == 0) || (di_1_value == 0 && di_2_value == 1))
      _g_dock_status = DOCK_STATUS_PREPARED;
    else if (di_1_value == 1 && di_2_value == 1)
      _g_dock_status = DOCK_STATUS_UNDOCKED;
    else if (di_1_value == 0 && di_2_value == 0)
      _g_dock_status = DOCK_STATUS_DOCKED;

    osDelay(200);
  }
  /* USER CODE END StartDockTask */
}

void Error_Handler(void)
{
  __disable_irq();
  while (1)
  {
  }
}
